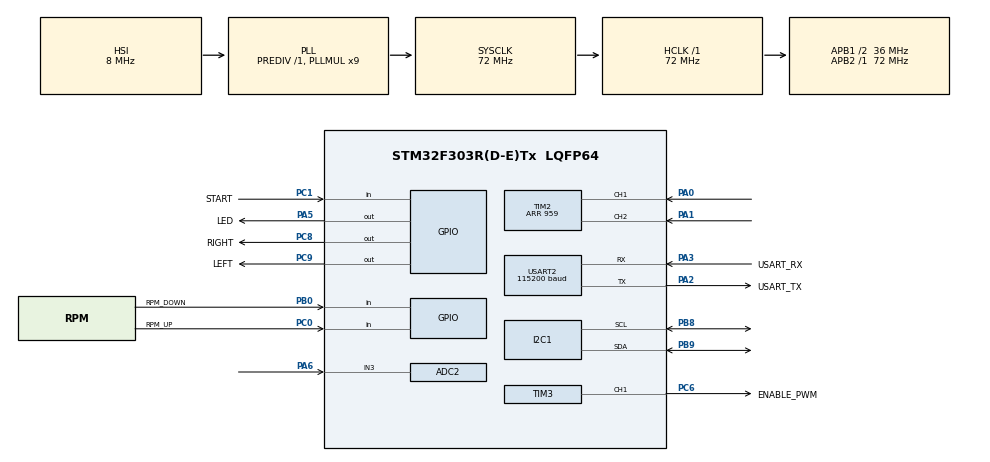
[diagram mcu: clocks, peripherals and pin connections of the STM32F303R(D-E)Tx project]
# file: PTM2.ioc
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ADC2.Channel-4\#ChannelRegularConversion=ADC_CHANNEL_3
ADC2.NbrOfConversionFlag=1
ADC2.Offset-4\#ChannelRegularConversion=0
ADC2.OffsetNumber-4\#ChannelRegularConversion=ADC_OFFSET_NONE
ADC2.Rank-4\#ChannelRegularConversion=1
ADC2.SamplingTime-4\#ChannelRegularConversion=ADC_SAMPLETIME_181CYCLES_5
ADC2.SamplingTimeOPAMP-4\#ChannelRegularConversion=ADC_SAMPLETIME_61CYCLES_5
Dma.Request0=USART2_RX
Dma.USART2_RX.0.Direction=DMA_PERIPH_TO_MEMORY
Dma.USART2_RX.0.Instance=DMA1_Channel6
Dma.USART2_RX.0.MemDataAlignment=DMA_MDATAALIGN_BYTE
Dma.USART2_RX.0.MemInc=DMA_MINC_ENABLE
Dma.USART2_RX.0.Mode=DMA_NORMAL
Dma.USART2_RX.0.PeriphDataAlignment=DMA_PDATAALIGN_BYTE
Dma.USART2_RX.0.PeriphInc=DMA_PINC_DISABLE
Dma.USART2_RX.0.Priority=DMA_PRIORITY_LOW
Mcu.Family=STM32F3
Mcu.Name=STM32F303R(D-E)Tx
Mcu.Package=LQFP64
NVIC.DMA1_Channel6_IRQn=true\:0\:0\:false\:false\:true\:false\:true\:true
NVIC.PriorityGroup=NVIC_PRIORITYGROUP_0
NVIC.TIM1_UP_TIM16_IRQn=true\:0\:0\:false\:false\:true\:true\:true\:true
NVIC.USART2_IRQn=true\:0\:0\:false\:false\:true\:true\:true\:true
PA0.Signal=S_TIM2_CH1_ETR
PA1.Signal=S_TIM2_CH2
PA13.GPIO_Label=TMS
PA13.Mode=Serial_Wire
PA13.Signal=SYS_JTMS-SWDIO
PA14.GPIO_Label=TCK
PA14.Mode=Serial_Wire
PA14.Signal=SYS_JTCK-SWCLK
PA2.GPIO_Label=USART_TX
PA2.GPIO_Mode=GPIO_MODE_AF_PP
PA2.GPIO_PuPd=GPIO_NOPULL
PA2.GPIO_Speed=GPIO_SPEED_FREQ_LOW
PA2.Mode=Asynchronous
PA2.Signal=USART2_TX
PA3.GPIO_Label=USART_RX
PA3.GPIO_Mode=GPIO_MODE_AF_PP
PA3.GPIO_PuPd=GPIO_NOPULL
PA3.GPIO_Speed=GPIO_SPEED_FREQ_LOW
PA3.Mode=Asynchronous
PA3.Signal=USART2_RX
PA5.GPIO_Label=LED
PA5.Signal=GPIO_Output
PA6.Mode=IN3-Single-Ended
PA6.Signal=ADC2_IN3
PB0.GPIO_Label=RPM_DOWN
PB0.GPIO_PuPd=GPIO_PULLUP
PB0.Signal=GPIO_Input
PB8.Mode=I2C
PB8.Signal=I2C1_SCL
PB9.Mode=I2C
PB9.Signal=I2C1_SDA
PC0.GPIO_Label=RPM_UP
PC0.GPIO_PuPd=GPIO_PULLUP
PC0.Signal=GPIO_Input
PC1.GPIO_Label=START
PC1.GPIO_PuPd=GPIO_PULLUP
PC1.Signal=GPIO_Input
PC14-OSC32_IN.Mode=LSE-External-Oscillator
PC14-OSC32_IN.Signal=RCC_OSC32_IN
PC15-OSC32_OUT.Mode=LSE-External-Oscillator
PC15-OSC32_OUT.Signal=RCC_OSC32_OUT
PC6.GPIO_Label=ENABLE_PWM
PC6.Signal=S_TIM3_CH1
PC8.GPIO_Label=RIGHT
PC8.Signal=GPIO_Output
PC9.GPIO_Label=LEFT
PC9.Signal=GPIO_Output
PF0-OSC_IN.Mode=HSE-External-Clock-Source
PF0-OSC_IN.Signal=RCC_OSC_IN
PF1-OSC_OUT.Signal=RCC_OSC_OUT
ProjectManager.HeapSize=0x200
ProjectManager.StackSize=0x400
ProjectManager.TargetToolchain=STM32CubeIDE
RCC.AHBFreq_Value=72000000
RCC.APB1CLKDivider=RCC_HCLK_DIV2
RCC.APB1Freq_Value=36000000
RCC.APB1TimFreq_Value=72000000
RCC.APB2Freq_Value=72000000
RCC.APB2TimFreq_Value=72000000
RCC.CortexFreq_Value=72000000
RCC.HCLKFreq_Value=72000000
RCC.HSE_VALUE=8000000
RCC.HSI_VALUE=8000000
RCC.PLLM=8
RCC.PLLMUL=RCC_PLL_MUL9
RCC.PLLN=336
RCC.PLLP=RCC_PLLP_DIV4
RCC.PLLQ=7
RCC.RCC_PLLsource_Clock_Source_FROM_HSE=RCC_HSE_PREDIV_DIV2
RCC.SYSCLKFreq_VALUE=72000000
RCC.SYSCLKSourceVirtual=RCC_SYSCLKSOURCE_PLLCLK
RCC.TIM34Selection=RCC_TIM34CLK_PLLCLK
RCC.USBFreq_Value=72000000
SH.S_TIM2_CH1_ETR.0=TIM2_CH1,Encoder_Interface
SH.S_TIM2_CH2.0=TIM2_CH2,Encoder_Interface
SH.S_TIM3_CH1.0=TIM3_CH1,PWM Generation1 CH1
TIM1.Period=0xffff-1
TIM1.Prescaler=71
TIM16.Period=499
TIM16.Prescaler=7199
TIM2.Period=959
TIM3.AutoReloadPreload=TIM_AUTORELOAD_PRELOAD_ENABLE
TIM3.Channel-PWM\ Generation1\ CH1=TIM_CHANNEL_1
TIM3.Period=999
TIM3.Prescaler=1
USART2.BaudRate=115200
USART2.VirtualMode-Asynchronous=VM_ASYNC
VP_TIM16_VS_ClockSourceINT.Mode=Enable_Timer
VP_TIM1_VS_ClockSourceINT.Mode=Internal
VP_TIM3_VS_ClockSourceINT.Mode=Internal
board=NUCLEO-F303RE

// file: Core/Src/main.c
/* USER CODE BEGIN Header */
/**
 ******************************************************************************
 * @file           : main.c
 * @brief          : Main program body
 ******************************************************************************
 * @attention
 *
 * Copyright (c) 2023 STMicroelectronics.
 * All rights reserved.
 *
 * This software is licensed under terms that can be found in the LICENSE file
 * in the root directory of this software component.
 * If no LICENSE file comes with this software, it is provided AS-IS.
 *
 ******************************************************************************
 */
/* USER CODE END Header */
#include "main.h"
#include "adc.h"
#include "dma.h"
#include "i2c.h"
#include "tim.h"
#include "usart.h"
#include "gpio.h"

/* USER CODE BEGIN Includes */
#include "lcd_i2c.h"
#include <string.h>
#include <stdio.h>
#include <stdbool.h>
#include <stdlib.h>
/* USER CODE END Includes */

/* USER CODE BEGIN PTD */
typedef enum
{
  STOP = 0,
  RUN = 1
} state_t;

struct Motor {
	int dir, actRpm, setRpm, count, actCount, lastCount, pwm, err, lastErr, temp;
	bool overheat;
	state_t state;
	uint16_t tempRead;
	double integral, derivative;
} motor;
/* USER CODE END PTD */

/* USER CODE BEGIN PD */
#define MAX_PWM 999
#define ENCODER_FREQ 20.0
#define ENCODER_PULSE 960

#define KP 7.0
#define KI 3.1
#define KD 0.08

#define TEMP_MIN 45
#define TEMP_MAX 50

#define RxBuffer_Size 10

/* USER CODE END PD */

/* USER CODE BEGIN PV */

uint8_t RxBuffer[RxBuffer_Size];
struct lcd_disp disp;

/* USER CODE END PV */

void SystemClock_Config(void);
/* USER CODE BEGIN PFP */
void displayNormal();
void displayOverheat();
void sendData();
void setDir();
void temp();
void pid();
void countRPM();
void procesData();
void HAL_UARTEx_RxEventCallback(UART_HandleTypeDef *huart, uint16_t Size);
void HAL_TIM_PeriodElapsedCallback(TIM_HandleTypeDef *htim);
/* USER CODE END PFP */

int main(void)
{
  /* USER CODE BEGIN 1 */
	bool startReading, upReading, downReading;
	bool lastUpReading = 1;
	bool lastDownReading = 1;
	bool lastStartReading = 1;

	motor.state = 0;
	motor.dir = 1;
	motor.setRpm = 0;
	motor.overheat = 0;
	disp.addr = (0x3f << 1);
	disp.bl = true;

  /* USER CODE END 1 */

  /* MCU Configuration--------------------------------------------------------*/

  /* Reset of all peripherals, Initializes the Flash interface and the Systick. */
  HAL_Init();

  /* Configure the system clock */
  SystemClock_Config();

  /* Initialize all configured peripherals */
  MX_GPIO_Init();
  MX_DMA_Init();
  MX_TIM2_Init();
  MX_TIM16_Init();
  MX_TIM3_Init();
  MX_ADC2_Init();
  MX_I2C1_Init();
  MX_TIM1_Init();
  MX_USART2_UART_Init();
  /* USER CODE BEGIN 2 */
	HAL_TIM_Encoder_Start(&htim2, TIM_CHANNEL_ALL);
	HAL_TIM_Base_Start(&htim1);
	HAL_TIM_Base_Start_IT(&htim16);
	HAL_TIM_PWM_Start(&htim3, TIM_CHANNEL_1);
	HAL_ADC_Start(&hadc2);
	HAL_UARTEx_ReceiveToIdle_DMA(&huart2, RxBuffer, RxBuffer_Size);
	__HAL_DMA_DISABLE_IT(&hdma_usart2_rx, DMA_IT_HT);

  /* USER CODE END 2 */

  /* Infinite loop */
  /* USER CODE BEGIN WHILE */

	lcd_init(&disp);
	while (1) {

		sendData();
		temp();

		if(motor.temp > TEMP_MAX){
			motor.overheat = 1;
			motor.state = 0;
			displayOverheat();
		}
		else if(motor.temp < TEMP_MIN){
			motor.overheat = 0;
			displayNormal();
		}

		lcd_display(&disp);

		startReading = HAL_GPIO_ReadPin(START_GPIO_Port, START_Pin);
		if (startReading == 1 && lastStartReading == 0) {
			if (motor.state == 0 && motor.overheat == 0)
				motor.state = 1;
			else
				motor.state = 0;
		}
		lastStartReading = startReading;

		downReading = HAL_GPIO_ReadPin(RPM_DOWN_GPIO_Port, RPM_DOWN_Pin);
		if (downReading == 1 && lastDownReading == 0) {
			motor.setRpm = motor.setRpm - 10;
			if (motor.setRpm < -160) {
				motor.setRpm = -160;
			}
		}
		lastDownReading = downReading;

		upReading = HAL_GPIO_ReadPin(RPM_UP_GPIO_Port, RPM_UP_Pin);
		if (upReading == 1 && lastUpReading == 0) {
			motor.setRpm = motor.setRpm + 10;
			if (motor.setRpm > 160) {
				motor.setRpm = 160;
			}
		}
		lastUpReading = upReading;

		if (motor.state) {
			HAL_GPIO_WritePin(LED_GPIO_Port, LED_Pin, GPIO_PIN_SET);
			setDir();
		} else {
			HAL_GPIO_WritePin(RIGHT_GPIO_Port, RIGHT_Pin, GPIO_PIN_RESET);
			HAL_GPIO_WritePin(LEFT_GPIO_Port, LEFT_Pin, GPIO_PIN_RESET);
			HAL_GPIO_WritePin(LED_GPIO_Port, LED_Pin, GPIO_PIN_RESET);
			__HAL_TIM_SET_COMPARE(&htim3, TIM_CHANNEL_1, 0);
			motor.err = 0;
			motor.lastErr = 0;
			motor.derivative = 0;
			motor.integral = 0;
		}
    /* USER CODE END WHILE */

	}
}

void SystemClock_Config(void)
{
  RCC_OscInitTypeDef RCC_OscInitStruct = {0};
  RCC_ClkInitTypeDef RCC_ClkInitStruct = {0};
  RCC_PeriphCLKInitTypeDef PeriphClkInit = {0};

  /** Initializes the RCC Oscillators according to the specified parameters
  * in the RCC_OscInitTypeDef structure.
  */
  RCC_OscInitStruct.OscillatorType = RCC_OSCILLATORTYPE_HSI;
  RCC_OscInitStruct.HSIState = RCC_HSI_ON;
  RCC_OscInitStruct.HSICalibrationValue = RCC_HSICALIBRATION_DEFAULT;
  RCC_OscInitStruct.PLL.PLLState = RCC_PLL_ON;
  RCC_OscInitStruct.PLL.PLLSource = RCC_PLLSOURCE_HSI;
  RCC_OscInitStruct.PLL.PLLMUL = RCC_PLL_MUL9;
  RCC_OscInitStruct.PLL.PREDIV = RCC_PREDIV_DIV1;
  if (HAL_RCC_OscConfig(&RCC_OscInitStruct) != HAL_OK)
  {
    Error_Handler();
  }

  /** Initializes the CPU, AHB and APB buses clocks
  */
  RCC_ClkInitStruct.ClockType = RCC_CLOCKTYPE_HCLK|RCC_CLOCKTYPE_SYSCLK
                              |RCC_CLOCKTYPE_PCLK1|RCC_CLOCKTYPE_PCLK2;
  RCC_ClkInitStruct.SYSCLKSource = RCC_SYSCLKSOURCE_PLLCLK;
  RCC_ClkInitStruct.AHBCLKDivider = RCC_SYSCLK_DIV1;
  RCC_ClkInitStruct.APB1CLKDivider = RCC_HCLK_DIV2;
  RCC_ClkInitStruct.APB2CLKDivider = RCC_HCLK_DIV1;

  if (HAL_RCC_ClockConfig(&RCC_ClkInitStruct, FLASH_LATENCY_2) != HAL_OK)
  {
    Error_Handler();
  }
  PeriphClkInit.PeriphClockSelection = RCC_PERIPHCLK_USART2|RCC_PERIPHCLK_I2C1
                              |RCC_PERIPHCLK_TIM1|RCC_PERIPHCLK_TIM16
                              |RCC_PERIPHCLK_ADC12|RCC_PERIPHCLK_TIM2
                              |RCC_PERIPHCLK_TIM34;
  PeriphClkInit.Usart2ClockSelection = RCC_USART2CLKSOURCE_PCLK1;
  PeriphClkInit.Adc12ClockSelection = RCC_ADC12PLLCLK_DIV1;
  PeriphClkInit.I2c1ClockSelection = RCC_I2C1CLKSOURCE_HSI;
  PeriphClkInit.Tim1ClockSelection = RCC_TIM1CLK_HCLK;
  PeriphClkInit.Tim16ClockSelection = RCC_TIM16CLK_HCLK;
  PeriphClkInit.Tim2ClockSelection = RCC_TIM2CLK_HCLK;
  PeriphClkInit.Tim34ClockSelection = RCC_TIM34CLK_PLLCLK;
  if (HAL_RCCEx_PeriphCLKConfig(&PeriphClkInit) != HAL_OK)
  {
    Error_Handler();
  }
}

/* USER CODE BEGIN 4 */

void displayNormal(){
	char statusName[2][7] = {{"STOP  "}, {"START "}};
	sprintf((char *)disp.first_line, "Status: %s", statusName[motor.state]);
	sprintf((char *)disp.second_line, "Set RPM: %d    ", motor.setRpm);
	sprintf((char *)disp.third_line, "Actual RPM: %d    ", motor.actRpm);
	sprintf((char *)disp.fourth_line, "Temperature: %d%cC ", motor.temp, 223);
}

void displayOverheat(){
	sprintf((char *)disp.first_line, "                    ");
	sprintf((char *)disp.second_line, "     !OVERHEAT!   ");
	sprintf((char *)disp.third_line,  "       !%d%cC!   ", motor.temp, 223);
	sprintf((char *)disp.fourth_line, "                    ");
}

void sendData(){
	char msg[32];
	sprintf((char*) msg, "%d, %d, %d, %d\n", motor.actRpm, motor.setRpm, motor.err, 0);
	HAL_UART_Transmit(&huart2, (uint8_t*) msg, strlen(msg), 100);
}

void setDir(){
	if(motor.setRpm < 0){
		motor.dir = -1;
		HAL_GPIO_WritePin(RIGHT_GPIO_Port, RIGHT_Pin, GPIO_PIN_RESET);
		HAL_GPIO_WritePin(LEFT_GPIO_Port, LEFT_Pin, GPIO_PIN_SET);
	}
	else {
		motor.dir = 1;
		HAL_GPIO_WritePin(LEFT_GPIO_Port, LEFT_Pin, GPIO_PIN_RESET);
		HAL_GPIO_WritePin(RIGHT_GPIO_Port, RIGHT_Pin, GPIO_PIN_SET);
	}
}

void temp(){
	if (HAL_ADC_PollForConversion(&hadc2, 10) == HAL_OK) {
		motor.tempRead = HAL_ADC_GetValue(&hadc2);
		HAL_ADC_Start(&hadc2);
	}

	motor.temp = 33000/(3.3*motor.tempRead/4096)-10000;
	motor.temp = motor.temp*-0.00438+69.5;
}

void pid() {
	if(motor.state == 1){
	motor.err = (motor.setRpm - motor.actRpm)*motor.dir;
	motor.integral += (double)(motor.err / ENCODER_FREQ);
	motor.derivative = (double) (motor.err - motor.lastErr) * ENCODER_FREQ;
	motor.pwm = (int) KP * (motor.err + KI* motor.integral + KD * motor.derivative);
	motor.lastErr = motor.err;
	if (motor.pwm < 0)
		motor.pwm = 0;
	else if (motor.pwm > MAX_PWM)
		motor.pwm = MAX_PWM;
	__HAL_TIM_SET_COMPARE(&htim3, TIM_CHANNEL_1, motor.pwm);
	}
}

void countRPM(){
	if (motor.actCount < motor.lastCount) {
		motor.count = motor.actCount + ENCODER_PULSE - motor.lastCount;
	} else {
		motor.count = motor.actCount - motor.lastCount;
	}
	motor.lastCount = motor.actCount;
	motor.actRpm = (int) motor.count * (60 * ENCODER_FREQ / ENCODER_PULSE);
	if(motor.actRpm>500)
		motor.actRpm =  motor.actRpm-1200;
}

    void procesData(){
    	int buf;
	switch (RxBuffer[0]) {
		case 'R':
			motor.state = RUN;
			break;
		case 'S':
			motor.state = STOP;
			break;
		case 'P':
			 buf = atoi((const char*)RxBuffer+2);
			 if (buf < 150 && buf > -150) {
				 motor.setRpm = buf;
			}
			break;
		default:
			break;
	}
	memset(RxBuffer, 0, sizeof(RxBuffer));
}

void HAL_UARTEx_RxEventCallback(UART_HandleTypeDef *huart, uint16_t Size){
	if(huart->Instance == USART2){
		procesData();
		HAL_UARTEx_ReceiveToIdle_DMA(&huart2, RxBuffer, RxBuffer_Size);
		__HAL_DMA_DISABLE_IT(&hdma_usart2_rx, DMA_IT_HT);
	}
}

void HAL_TIM_PeriodElapsedCallback(TIM_HandleTypeDef *htim) {
	if (htim->Instance == TIM16) {
		motor.actCount = __HAL_TIM_GET_COUNTER(&htim2);
		countRPM();
		pid();
	}
}
/* USER CODE END 4 */

void Error_Handler(void)
{
	__disable_irq();
	while (1) {
	}
}
